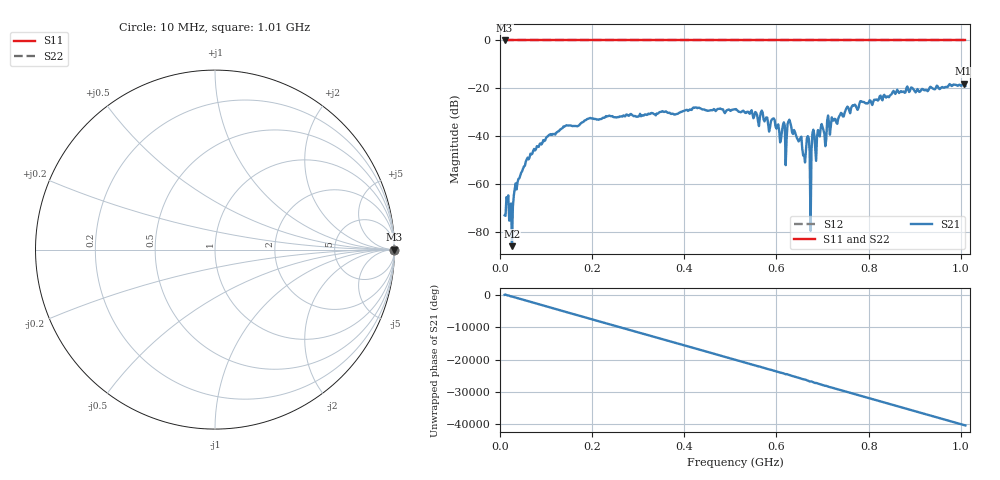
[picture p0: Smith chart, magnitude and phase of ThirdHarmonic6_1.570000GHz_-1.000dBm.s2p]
! 8/16/2025 6:40:18 PM
! C:\ANRITSUVNA\TEMP\TEMP.S2P
! CHANNEL.1
! TR.MEASUREMENT
! RAW.DATA
! RF.CORRECTION.OFF
! AVERAGING.OFF
! IF.BANDWIDTH: 5KHZ
! SWEEPTYPE:  FREQ.SWEEP(Linear)
! Reference Plane Port Info
! PORT:  PORT1  PORT2
! DISTANCE:  0  m  0  m
! TIME:  0  s  0  s
! PHASE.OFFSET:  0  deg.  0  deg.
! LOSS:  0  dB  0  dB
! REF.LOSS:  0  dB  0  dB
! REF.FREQ:  0  Hz  0  Hz
! Power Info
! POWER:  -20  dBm  -20  dBm
! EFF.POWER:  -20  dBm  -20  dBm
! SOURCE.ATTEN:  0  dB  0  dB
! TEST.ATTEN:  0  dB  0  dB
# GHZ S RI R 50.0
! FREQ.GHZ  S11RE  S11IM  S21RE  S21IM  S12RE  S12IM  S22RE  S22IM
!; PortSelection: Port_12
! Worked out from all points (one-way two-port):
!   501 points, 10 MHz to 1.01 GHz, reference 50 ohm
!   highest |S21| = -18.08 dB at 1.006 GHz (marker M1); lowest = -85.8 dB at 26 MHz (marker M2)
!   lowest |S11| = 0.0 dB at 10 MHz (marker M3)
!   |S11| at or under -10 dB: nowhere
!   |S22| runs from 0.0 to 0.0 dB; largest |S21 - S12| = 1.1
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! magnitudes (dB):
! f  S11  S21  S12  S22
! 10 MHz  0.0  -72.9  0.0  0.0
! 14 MHz  0.0  -65.4  0.0  0.0
! 26 MHz  0.0  -85.8  0.0  0.0
! 36 MHz  0.0  -62.1  0.0  0.0
! 70 MHz  0.0  -47.3  0.0  0.0
! 106 MHz  0.0  -39.5  0.0  0.0
! 178 MHz  0.0  -34.2  0.0  0.0
! 344 MHz  0.0  -30.3  0.0  0.0
! 510 MHz  0.0  -28.7  0.0  0.0
! 592 MHz  0.0  -32.7  0.0  0.0
! 618 MHz  0.0  -35.3  0.0  0.0
! 628 MHz  0.0  -33.1  0.0  0.0
! 660 MHz  0.0  -47.7  0.0  0.0
! 668 MHz  0.0  -39.9  0.0  0.0
! 670 MHz  0.0  -40.7  0.0  0.0
! 678 MHz  0.0  -38.7  0.0  0.0
! 680 MHz  0.0  -37.2  0.0  0.0
! 704 MHz  0.0  -38.9  0.0  0.0
! 752 MHz  0.0  -28.2  0.0  0.0
! 844 MHz  0.0  -23.7  0.0  0.0
! 1.006 GHz  0.0  -18.1  0.0  0.0
! 1.01 GHz  0.0  -19.0  0.0  0.0
